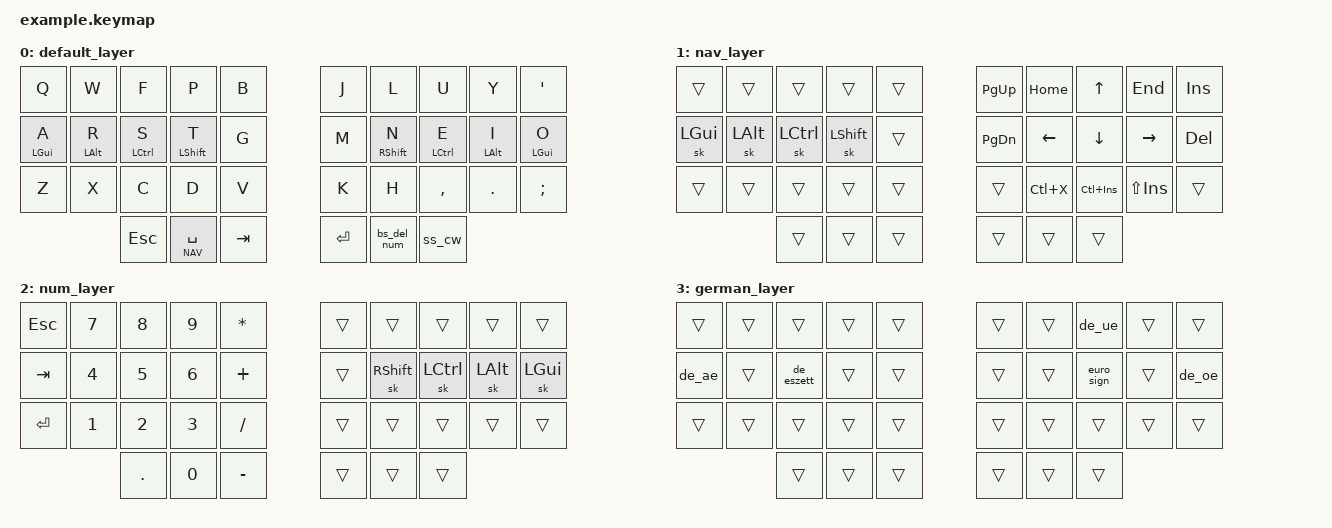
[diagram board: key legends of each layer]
#include <behaviors.dtsi>
#include <dt-bindings/zmk/keys.h>

#include "../zmk-nodefree-config/helper.h"
#include "../zmk-nodefree-config/keypos_def/keypos_36keys.h"
#include "../zmk-nodefree-config/international_chars/german.dtsi"

/* layer and key shortcuts */

#define ___ &trans

#define DEF 0  // layer shortcuts, must match order in which they are defined below
#define NAV 1
#define NUM 2
#define GER 3

/* custom behaviors */

// homerow mods
ZMK_BEHAVIOR(hrm, hold_tap,
    flavor = "balanced";
    tapping-term-ms = <280>;
    quick-tap-ms = <125>;
    bindings = <&kp>, <&kp>;
)

// tap: sticky shift | double tap: capsword
ZMK_BEHAVIOR(ss_cw, tap_dance,
    tapping-term-ms = <200>;
    bindings = <&sk LSHFT>, <&caps_word>;
)

// tap: backspace | shift + tap: delete | hold: num layer
ZMK_BEHAVIOR(bs_del_num, mod_morph,
    bindings = <&lt NUM BSPC>, <&kp DEL>;
    mods = <(MOD_LSFT|MOD_RSFT)>;
)

// windows sleep macro
ZMK_BEHAVIOR(win_sleep, macro,
    wait-ms = <100>;
    tap-ms = <5>;
    bindings = <&kp LG(X) &kp U &kp S>;
)

// euro sign
ZMK_UNICODE_SINGLE(euro_sign, N2, N0, A, C)  // €

// replace a/o/u/s with German umlauts when NAV and NUM are held jointly
ZMK_CONDITIONAL_LAYER(NAV NUM, GER)

// combos
#undef COMBO_TERM
#define COMBO_TERM 40  // timeout of 40ms (default is 30ms if omitted)
ZMK_COMBO(combo_sleep,  &win_sleep, RT3 RT4, NAV)  // custom sleep macro, only active on NAV layer
ZMK_COMBO(combo_copy,   &kp LC(C),  LB2 LB3, ALL)  // Ctrl + C, active on all layers
ZMK_COMBO(combo_paste,  &kp LC(V),  LB1 LB2, ALL)  // Ctrl + V, active on all layers

/* keymap */

ZMK_LAYER(default_layer,
     // ╭─────────────┬─────────────┬─────────────┬─────────────┬─────────────╮   ╭─────────────┬─────────────┬─────────────┬─────────────┬─────────────╮
          &kp Q         &kp W         &kp F         &kp P         &kp B             &kp J         &kp L         &kp U         &kp Y         &kp SQT
     // ├─────────────┼─────────────┼─────────────┼─────────────┼─────────────┤   ├─────────────┼─────────────┼─────────────┼─────────────┼─────────────┤
          &hrm LGUI A   &hrm LALT R   &hrm LCTRL S  &hrm LSHFT T  &kp G             &kp M         &hrm RSHFT N  &hrm LCTRL E  &hrm LALT I   &hrm LGUI O
     // ├─────────────┼─────────────┼─────────────┼─────────────┼─────────────┤   ├─────────────┼─────────────┼─────────────┼─────────────┼─────────────┤
          &kp Z         &kp X         &kp C         &kp D         &kp V             &kp K         &kp H         &kp COMMA     &kp DOT       &kp SEMI
     // ╰─────────────┼─────────────┼─────────────┼─────────────┼─────────────┤   ├─────────────┼─────────────┼─────────────┼─────────────┼─────────────┤
                                      &kp ESC       &lt NAV SPACE &kp TAB           &kp RET       &bs_del_num   &ss_cw
     //                             ╰─────────────┴─────────────┴─────────────╯   ╰─────────────┴─────────────┴─────────────╯
)

ZMK_LAYER(nav_layer,
     // ╭─────────────┬─────────────┬─────────────┬─────────────┬─────────────╮   ╭─────────────┬─────────────┬─────────────┬─────────────┬─────────────╮
          ___           ___           ___           ___           ___               &kp PG_UP     &kp HOME      &kp UP        &kp END       &kp INS
     // ├─────────────┼─────────────┼─────────────┼─────────────┼─────────────┤   ├─────────────┼─────────────┼─────────────┼─────────────┼─────────────┤
          &sk LGUI      &sk LALT      &sk LCTRL     &sk LSHFT     ___               &kp PG_DN     &kp LEFT      &kp DOWN      &kp RIGHT     &kp DEL
     // ├─────────────┼─────────────┼─────────────┼─────────────┼─────────────┤   ├─────────────┼─────────────┼─────────────┼─────────────┼─────────────┤
          ___           ___           ___           ___           ___               ___           &kp LC(X)     &kp LC(INS)   &kp LS(INS)   ___
     // ╰─────────────┼─────────────┼─────────────┼─────────────┼─────────────┤   ├─────────────┼─────────────┼─────────────┼─────────────┼─────────────┤
                                      ___           ___           ___               ___           ___           ___
     //                             ╰─────────────┴─────────────┴─────────────╯   ╰─────────────┴─────────────┴─────────────╯
)

ZMK_LAYER(num_layer,
     // ╭─────────────┬─────────────┬─────────────┬─────────────┬─────────────╮   ╭─────────────┬─────────────┬─────────────┬─────────────┬─────────────╮
          &kp ESC       &kp N7        &kp N8        &kp N9        &kp STAR          ___           ___           ___           ___           ___
     // ├─────────────┼─────────────┼─────────────┼─────────────┼─────────────┤   ├─────────────┼─────────────┼─────────────┼─────────────┼─────────────┤
          &kp TAB       &kp N4        &kp N5        &kp N6        &kp PLUS          ___           &sk RSHFT     &sk LCTRL     &sk LALT      &sk LGUI
     // ├─────────────┼─────────────┼─────────────┼─────────────┼─────────────┤   ├─────────────┼─────────────┼─────────────┼─────────────┼─────────────┤
          &kp RET       &kp N1        &kp N2        &kp N3        &kp FSLH          ___           ___           ___           ___           ___
     // ╰─────────────┼─────────────┼─────────────┼─────────────┼─────────────┤   ├─────────────┼─────────────┼─────────────┼─────────────┼─────────────┤
                                      &kp DOT       &kp N0        &kp MINUS         ___           ___           ___
     //                             ╰─────────────┴─────────────┴─────────────╯   ╰─────────────┴─────────────┴─────────────╯
)

ZMK_LAYER(german_layer,
     // ╭─────────────┬─────────────┬─────────────┬─────────────┬─────────────╮   ╭─────────────┬─────────────┬─────────────┬─────────────┬─────────────╮
          ___           ___           ___           ___           ___               ___           ___           &de_ue        ___           ___
     // ├─────────────┼─────────────┼─────────────┼─────────────┼─────────────┤   ├─────────────┼─────────────┼─────────────┼─────────────┼─────────────┤
          &de_ae        ___           &de_eszett    ___           ___               ___           ___           &euro_sign    ___           &de_oe
     // ├─────────────┼─────────────┼─────────────┼─────────────┼─────────────┤   ├─────────────┼─────────────┼─────────────┼─────────────┼─────────────┤
          ___           ___           ___           ___           ___               ___           ___           ___           ___           ___
     // ╰─────────────┼─────────────┼─────────────┼─────────────┼─────────────┤   ├─────────────┼─────────────┼─────────────┼─────────────┼─────────────┤
                                      ___           ___           ___               ___           ___           ___
     //                             ╰─────────────┴─────────────┴─────────────╯   ╰─────────────┴─────────────┴─────────────╯
)

GLV80_LAYER(template,
/* ╭───────────────┬───────────────┬───────────────┬───────────────┬───────────────╮                                   ╭───────────────┬───────────────┬───────────────┬───────────────┬───────────────╮ */
    ___             ___             ___             ___             ___                                                 ___             ___             ___             ___             ___
/* ├───────────────┼───────────────┼───────────────┼───────────────┼───────────────┼───────────────╮   ╭───────────────┼───────────────┼───────────────┼───────────────┼───────────────┼───────────────┤ */
    ___             ___             ___             ___             ___             ___                 ___             ___             ___             ___             ___             ___
/* ├───────────────┼───────────────┼───────────────┼───────────────┼───────────────┼───────────────┤   ├───────────────┼───────────────┼───────────────┼───────────────┼───────────────┼───────────────┤ */
    ___             ___             ___             ___             ___             ___                 ___             ___             ___             ___             ___             ___
/* ├───────────────┼───────────────┼───────────────┼───────────────┼───────────────┼───────────────┤   ├───────────────┼───────────────┼───────────────┼───────────────┼───────────────┼───────────────┤ */
    ___             ___             ___             ___             ___             ___                 ___             ___             ___             ___             ___             ___
/* ├───────────────┼───────────────┼───────────────┼───────────────┼───────────────┼───────────────┤   ├───────────────┼───────────────┼───────────────┼───────────────┼───────────────┼───────────────┤ */
    ___             ___             ___             ___             ___             ___              ,  ___             ___             ___             ___             ___             ___
/* ├───────────────┼───────────────┼───────────────┼───────────────┼───────────────┼───────────────╯   ╰───────────────┼───────────────┼───────────────┼───────────────┼───────────────┼───────────────┤ */
    ___             ___             ___             ___             ___                              ,                  ___             ___             ___             ___             ___
/* ╰───────────────┴───────────────┴───────────────┴───────────────┴───────────────╯                                   ╰───────────────┴───────────────┴───────────────┴───────────────┴───────────────╯ */
                                                                                                     ,
/*                                         ╭───────────────┬───────────────┬───────────────╮                   ╭───────────────┬───────────────┬───────────────╮                                         */
                                            ___             ___             ___                                 ___             ___             ___
/*                                         ├───────────────┼───────────────┼───────────────┤      */ , /*      ├───────────────┼───────────────┼───────────────┤                                         */
                                            ___             ___             ___                                 ___             ___             ___
/*                                         ╰───────────────┴───────────────┴───────────────╯                   ╰───────────────┴───────────────┴───────────────╯                                         */
)
